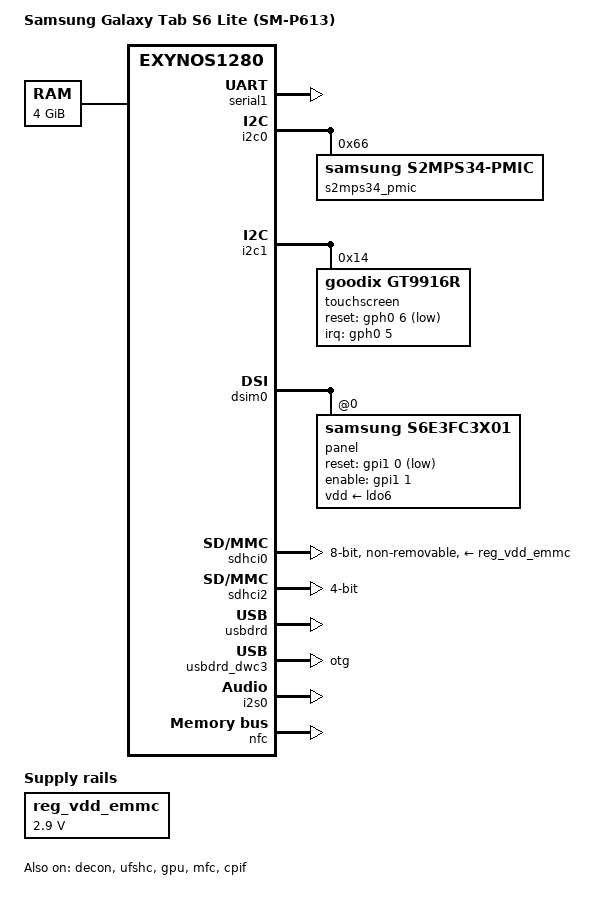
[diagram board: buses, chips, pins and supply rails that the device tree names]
// SPDX-License-Identifier: GPL-2.0
/*
 * Samsung Galaxy Tab S6 Lite (SM-P613) Device Tree
 *
 * Board-level peripherals: PMIC, touch, display panel, S Pen,
 * storage.  Addresses and GPIO assignments are PLACEHOLDERS.
 */

/dts-v1/;

#include "exynos1280.dtsi"
#include "exynos1280-pmic-s2mps34.dtsi"
#include <dt-bindings/gpio/gpio.h>
#include <dt-bindings/interrupt-controller/irq.h>

/ {
	model = "Samsung Galaxy Tab S6 Lite (SM-P613)";
	compatible = "samsung,gta4xls", "samsung,exynos1280";

	chosen {
		bootargs = "androidboot.hardware=exynos1280";
	};

	memory@80000000 {
		device_type = "memory";
		reg = <0x0 0x80000000 0x0 0x100000000>; /* 4 GB */
	};

	/* ── Fixed regulators ─────────────────────────────────────────── */

	reg_vdd_emmc: regulator-vdd-emmc {
		compatible = "regulator-fixed";
		regulator-name = "vdd_emmc";
		regulator-min-microvolt = <2900000>;
		regulator-max-microvolt = <2900000>;
		regulator-always-on;
	};
};

/* ── UART ────────────────────────────────────────────────────────────── */

&serial1 {
	status = "okay";
};

/* ── I2C0: PMIC ─────────────────────────────────────────────────────── */

&i2c0 {
	status = "okay";

	s2mps34_pmic: pmic@66 {
		compatible = "samsung,s2mps34-pmic";
		reg = <0x66>;
		/* Full regulator set (39 LDO + 9 BUCK) is provided by the
		 * included exynos1280-pmic-s2mps34.dtsi. */
	};
};

/* ── I2C1: Touchscreen ──────────────────────────────────────────────── */

&i2c1 {
	status = "okay";

	touchscreen@14 {
		compatible = "goodix,gt9916r";
		reg = <0x14>;
		interrupt-parent = <&gph0>;
		interrupts = <5 IRQ_TYPE_EDGE_FALLING>;
		reset-gpios = <&gph0 6 GPIO_ACTIVE_LOW>;
	};
};

/* ── Display ─────────────────────────────────────────────────────────── */

&decon {
	status = "okay";
};

&dsim0 {
	status = "okay";

	panel@0 {
		compatible = "samsung,s6e3fc3x01";
		reg = <0>;
		reset-gpios = <&gpi1 0 GPIO_ACTIVE_LOW>;
		enable-gpios = <&gpi1 1 GPIO_ACTIVE_HIGH>;
		vdd-supply = <&ldo6>;
	};
};

/* ── eMMC ────────────────────────────────────────────────────────────── */

&sdhci0 {
	status = "okay";
	bus-width = <8>;
	cap-mmc-highspeed;
	mmc-hs200-1_8v;
	mmc-hs400-1_8v;
	non-removable;
	vmmc-supply = <&reg_vdd_emmc>;
};

/* ── SD card ─────────────────────────────────────────────────────────── */

&sdhci2 {
	status = "okay";
	bus-width = <4>;
	cap-sd-highspeed;
	disable-wp;
};

/* ── USB ─────────────────────────────────────────────────────────────── */

&usbdrd {
	status = "okay";
};

&usbdrd_dwc3 {
	dr_mode = "otg";
	maximum-speed = "high-speed";
};

/* ── UFS ─────────────────────────────────────────────────────────────── */

&ufshc {
	status = "okay";
};

/* ── GPU ─────────────────────────────────────────────────────────────── */

&gpu {
	status = "okay";
};

/* ── MFC ─────────────────────────────────────────────────────────────── */

&mfc {
	status = "okay";
};

/* ── Audio ───────────────────────────────────────────────────────────── */

&i2s0 {
	status = "okay";
};

/* ── Modem ───────────────────────────────────────────────────────────── */

&cpif {
	status = "okay";
};

/* ── NFC ─────────────────────────────────────────────────────────────── */

&nfc {
	status = "okay";
};
